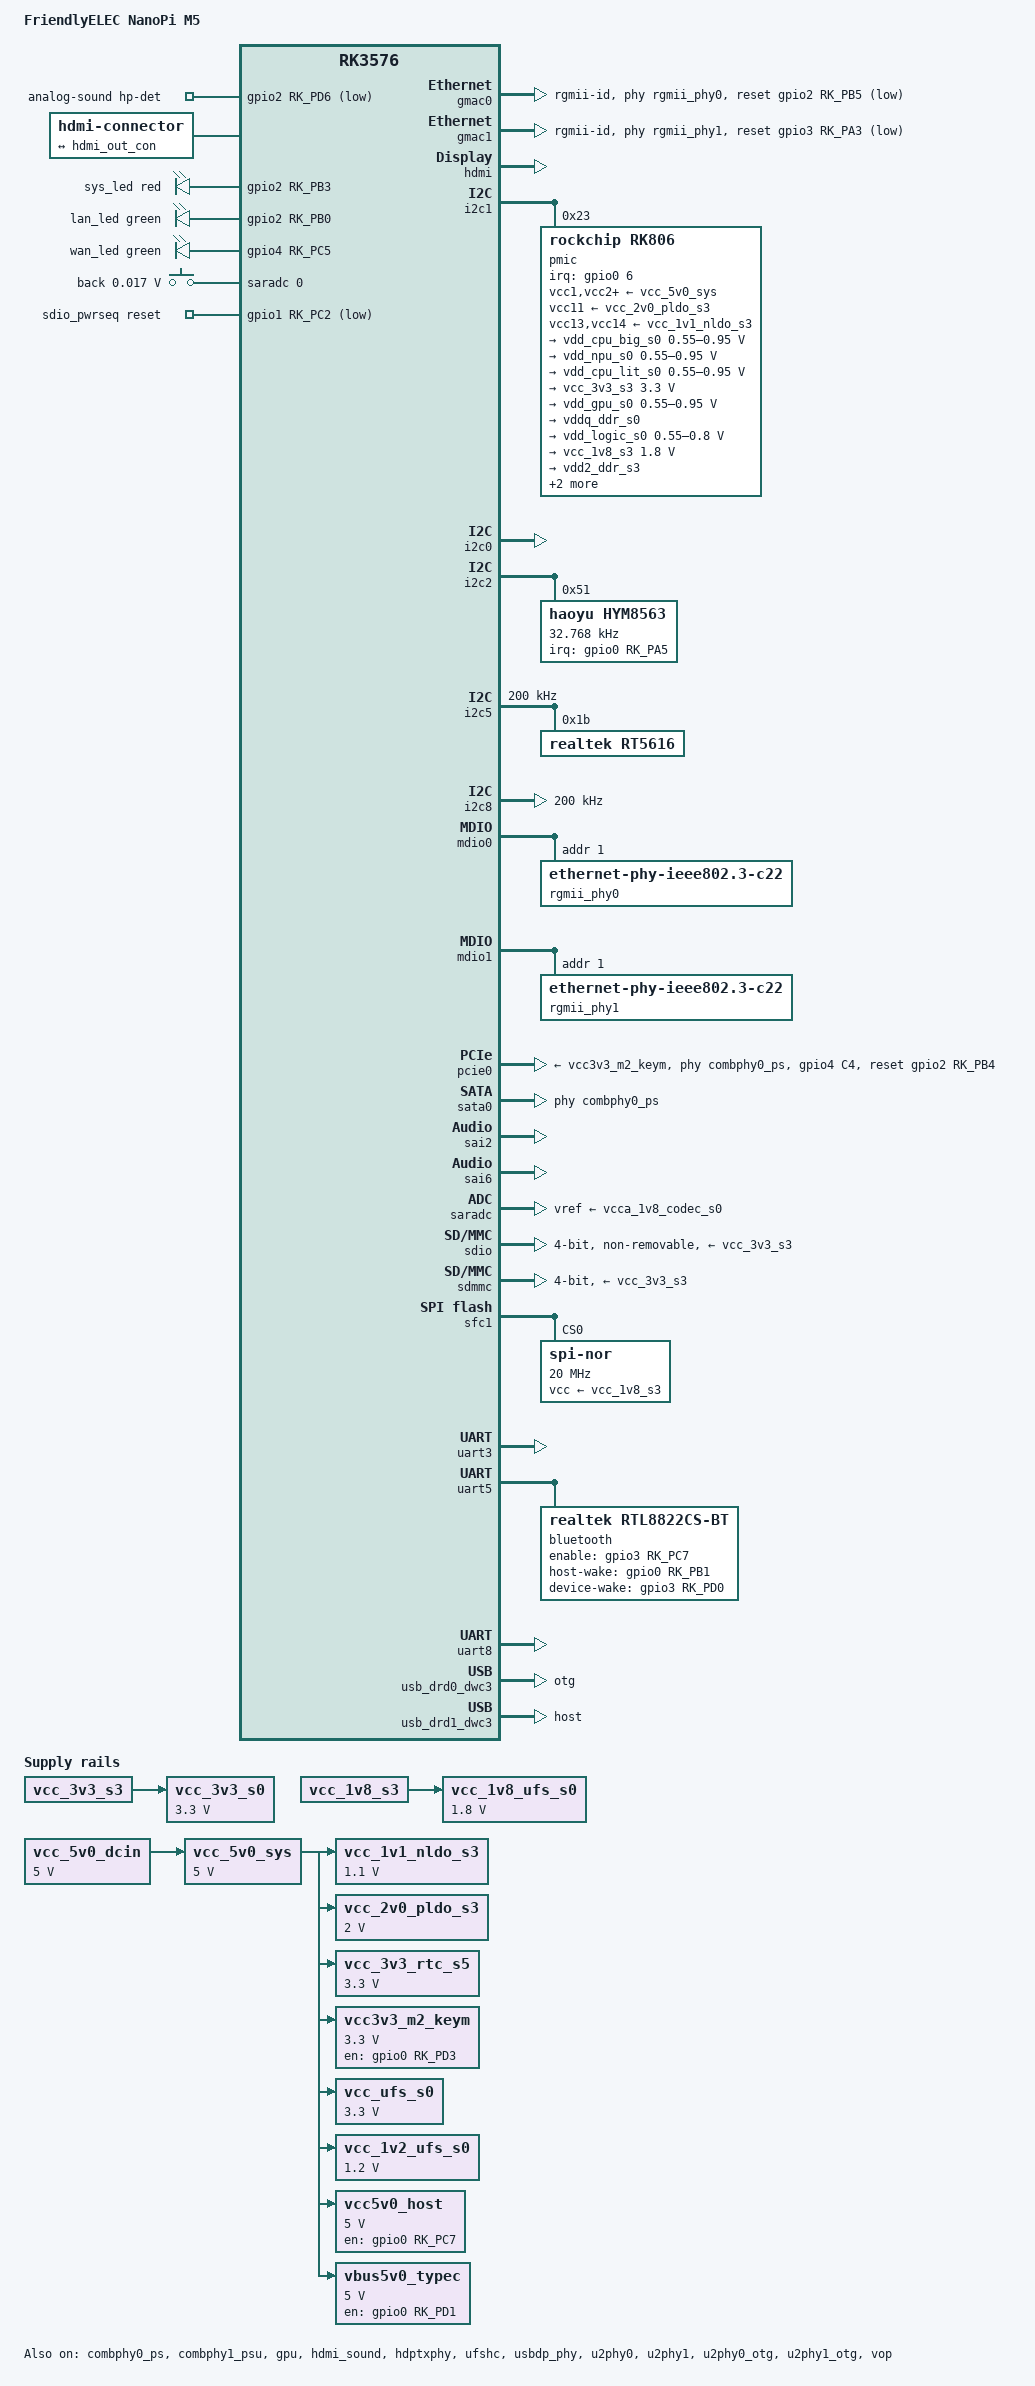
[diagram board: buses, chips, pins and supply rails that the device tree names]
// SPDX-License-Identifier: (GPL-2.0+ OR MIT)
/*
 * Copyright (c) 2024 Rockchip Electronics Co., Ltd.
 *
 */

/dts-v1/;

#include <dt-bindings/gpio/gpio.h>
#include <dt-bindings/input/input.h>
#include <dt-bindings/leds/common.h>
#include <dt-bindings/pinctrl/rockchip.h>
#include <dt-bindings/pwm/pwm.h>
#include <dt-bindings/soc/rockchip,vop2.h>
#include <dt-bindings/usb/pd.h>
#include "rk3576.dtsi"

/ {
	model = "FriendlyELEC NanoPi M5";
	compatible = "friendlyelec,nanopi-m5", "rockchip,rk3576";

	/* Network Aliases */
	aliases {
		ethernet0 = &gmac0;
		ethernet1 = &gmac1;
	};

	/* Boot Configuration */
	chosen {
		stdout-path = "serial0:1500000n8";
	};

	/* Audio Card */
	analog-sound  {
		compatible = "simple-audio-card";
		pinctrl-names = "default";
		pinctrl-0 = <&headphone_detect>;

		simple-audio-card,name = "realtek,rt5616-codec";
		simple-audio-card,format = "i2s";
		simple-audio-card,mclk-fs = <256>;

		simple-audio-card,hp-det-gpio = <&gpio2 RK_PD6 GPIO_ACTIVE_LOW>;

		simple-audio-card,widgets =
			"Headphone", "Headphones",
			"Microphone", "Microphone Jack";
		simple-audio-card,routing =
			"Headphones", "HPOL",
			"Headphones", "HPOR",
			"MIC1", "Microphone Jack",
			"Microphone Jack", "micbias1";

		simple-audio-card,cpu {
			sound-dai = <&sai2>;
		};
		simple-audio-card,codec {
			sound-dai = <&rt5616>;
		};
	};

	/* HDMI Connector */
	hdmi-con {
		compatible = "hdmi-connector";
		type = "a";

		port {
			hdmi_con_in: endpoint {
				remote-endpoint = <&hdmi_out_con>;
			};
		};
	};

        /* LED Configuration */
	leds: leds {
		compatible = "gpio-leds";

		sys_led: led-0 {
			color = <LED_COLOR_ID_RED>;
			function = LED_FUNCTION_HEARTBEAT;
			gpios = <&gpio2 RK_PB3 GPIO_ACTIVE_HIGH>;
			linux,default-trigger = "heartbeat";
			pinctrl-0 = <&sys_led_pin>;
		};

		lan_led: led-1 {
			color = <LED_COLOR_ID_GREEN>;
			function = LED_FUNCTION_STATUS;
			gpios = <&gpio2 RK_PB0 GPIO_ACTIVE_HIGH>;
			pinctrl-0 = <&lan_led_pin>;
		};

		wan_led: led-2 {
			color = <LED_COLOR_ID_GREEN>;
			function = LED_FUNCTION_STATUS;
			gpios = <&gpio4 RK_PC5 GPIO_ACTIVE_HIGH>;
			pinctrl-0 = <&wan_led_pin>;
		};
	};

	/* Button Configuration */
	saradc_keys: adc-keys {
		compatible = "adc-keys";
		io-channels = <&saradc 0>;
		io-channel-names = "buttons";
		keyup-threshold-microvolt = <1800000>;
		poll-interval = <100>;

		button-back {
			label = "back";
			linux,code = <KEY_BACK>;
			press-threshold-microvolt = <17000>;
		};
	};

	/* SDIO for WIFI CARD */
	sdio_pwrseq: sdio-pwrseq {
		compatible = "mmc-pwrseq-simple";
		pinctrl-names = "default";
		pinctrl-0 = <&wifi_poweren_gpio>;

		post-power-on-delay-ms = <200>;
		reset-gpios = <&gpio1 RK_PC2 GPIO_ACTIVE_LOW>;
	};

	/* Power Input */
	vcc_5v0_dcin: regulator-vcc-5v0-dcin {
		compatible = "regulator-fixed";
		regulator-name = "vcc_5v0_dcin";
		regulator-always-on;
		regulator-boot-on;
		regulator-min-microvolt = <5000000>;
		regulator-max-microvolt = <5000000>;
	};

	/* Main System Power */
	vcc_5v0_sys: regulator-vcc-5v0-sys {
		compatible = "regulator-fixed";
		regulator-name = "vcc_5v0_sys";
		regulator-always-on;
		regulator-boot-on;
		regulator-min-microvolt = <5000000>;
		regulator-max-microvolt = <5000000>;
		vin-supply = <&vcc_5v0_dcin>;
	};

	/* PMIC Input Rails */
	vcc_1v1_nldo_s3: regulator-vcc-1v1-nldo-s3 {
		compatible = "regulator-fixed";
		regulator-name = "vcc_1v1_nldo_s3";
		regulator-boot-on;
		regulator-always-on;
		regulator-min-microvolt = <1100000>;
		regulator-max-microvolt = <1100000>;
		vin-supply = <&vcc_5v0_sys>;
	};

	vcc_2v0_pldo_s3: regulator-vcc-2v0-pldo-s3 {
		compatible = "regulator-fixed";
		regulator-name = "vcc_2v0_pldo_s3";
		regulator-boot-on;
		regulator-always-on;
		regulator-min-microvolt = <2000000>;
		regulator-max-microvolt = <2000000>;
		vin-supply = <&vcc_5v0_sys>;
	};

	/* General Purpose 3.3V Rails */
	vcc_3v3_s0: regulator-vcc-3v3-s0 {
		compatible = "regulator-fixed";
		regulator-name = "vcc_3v3_s0";
		regulator-boot-on;
		regulator-always-on;
		regulator-min-microvolt = <3300000>;
		regulator-max-microvolt = <3300000>;
		vin-supply = <&vcc_3v3_s3>;
	};

	/* RTC Backup Power */
	vcc_3v3_rtc_s5: regulator-vcc-3v3-rtc-s5 {
		compatible = "regulator-fixed";
		regulator-name = "vcc_3v3_rtc_s5";
		regulator-boot-on;
		regulator-always-on;
		regulator-min-microvolt = <3300000>;
		regulator-max-microvolt = <3300000>;
		vin-supply = <&vcc_5v0_sys>;
	};

	/* PCIe M.2 Key M Power */
	vcc3v3_m2_keym: regulator-vcc3v3-m2-keym {
		compatible = "regulator-fixed";
		enable-active-high;
		gpios = <&gpio0 RK_PD3 GPIO_ACTIVE_HIGH>;
		pinctrl-names = "default";
		pinctrl-0 = <&pcie_m2_pwren>;
		regulator-name = "vcc3v3_m2_keym";
		regulator-min-microvolt = <3300000>;
		regulator-max-microvolt = <3300000>;
		vin-supply = <&vcc_5v0_sys>;
	};

	/* UFS Storage Power Rails */
	vcc_ufs_s0: regulator-vcc-ufs-s0 {
		compatible = "regulator-fixed";
		regulator-name = "vcc_ufs_s0";
		regulator-boot-on;
		regulator-always-on;
		regulator-min-microvolt = <3300000>;
		regulator-max-microvolt = <3300000>;
		vin-supply = <&vcc_5v0_sys>;
	};

	vcc_1v8_ufs_s0: regulator-vcc-1v8-ufs-s0 {
		compatible = "regulator-fixed";
		regulator-name = "vcc_1v8_ufs_s0";
		regulator-boot-on;
		regulator-always-on;
		regulator-min-microvolt = <1800000>;
		regulator-max-microvolt = <1800000>;
		vin-supply = <&vcc_1v8_s3>;
	};

	vcc_1v2_ufs_s0: regulator-vcc-1v2-ufs-s0 {
		compatible = "regulator-fixed";
		regulator-name = "vcc_1v2_ufs_s0";
		regulator-boot-on;
		regulator-always-on;
		regulator-min-microvolt = <1200000>;
		regulator-max-microvolt = <1200000>;
		vin-supply = <&vcc_5v0_sys>;
	};

	/* USB Host Power */
	vcc5v0_host: regulator-vcc5v0-host {
		compatible = "regulator-fixed";
		regulator-name = "vcc5v0_host";
		regulator-min-microvolt = <5000000>;
		regulator-max-microvolt = <5000000>;
		enable-active-high;
		gpio = <&gpio0 RK_PC7 GPIO_ACTIVE_HIGH>;
		vin-supply = <&vcc_5v0_sys>;
		pinctrl-names = "default";
		pinctrl-0 = <&usb_host_pwren>;
	};

	/* USB Type-C Power */
	vbus5v0_typec: regulator-vbus5v0-typec {
		compatible = "regulator-fixed";
		regulator-name = "vbus5v0_typec";
		regulator-min-microvolt = <5000000>;
		regulator-max-microvolt = <5000000>;
		enable-active-high;
		gpio = <&gpio0 RK_PD1 GPIO_ACTIVE_HIGH>;
		vin-supply = <&vcc_5v0_sys>;
		pinctrl-names = "default";
		pinctrl-0 = <&usb_otg0_pwren>;
	};
};

/* Combo PHY Configuration */
&combphy0_ps {
	status = "okay";
};

&combphy1_psu {
	status = "okay";
};

/* CPU Nodes */
&cpu_b0 {
	cpu-supply = <&vdd_cpu_big_s0>;
};

&cpu_b1 {
	cpu-supply = <&vdd_cpu_big_s0>;
};

&cpu_b2 {
	cpu-supply = <&vdd_cpu_big_s0>;
};

&cpu_b3 {
	cpu-supply = <&vdd_cpu_big_s0>;
};

&cpu_l0 {
	cpu-supply = <&vdd_cpu_lit_s0>;
};

&cpu_l1 {
	cpu-supply = <&vdd_cpu_lit_s0>;
};

&cpu_l2 {
	cpu-supply = <&vdd_cpu_lit_s0>;
};

&cpu_l3 {
	cpu-supply = <&vdd_cpu_lit_s0>;
};

/* Ethernet Nodes */
&gmac0 {
	phy-mode = "rgmii-id";
	clock_in_out = "output";

	snps,reset-gpio = <&gpio2 RK_PB5 GPIO_ACTIVE_LOW>;
	snps,reset-active-low;
	snps,reset-delays-us = <0 20000 100000>;

	pinctrl-names = "default";
	pinctrl-0 = <&eth0m0_miim
		     &eth0m0_tx_bus2
		     &eth0m0_rx_bus2
		     &eth0m0_rgmii_clk
		     &eth0m0_rgmii_bus>;

	tx_delay = <0x21>;
	rx_delay = <0x3f>;

	phy-handle = <&rgmii_phy0>;
	status = "okay";
};

&gmac1 {
	phy-mode = "rgmii-id";
	clock_in_out = "output";

	snps,reset-gpio = <&gpio3 RK_PA3 GPIO_ACTIVE_LOW>;
	snps,reset-active-low;
	snps,reset-delays-us = <0 20000 100000>;

	pinctrl-names = "default";
	pinctrl-0 = <&eth1m0_miim
		     &eth1m0_tx_bus2
		     &eth1m0_rx_bus2
		     &eth1m0_rgmii_clk
		     &eth1m0_rgmii_bus>;

	tx_delay = <0x20>;
	rx_delay = <0x3f>;

	phy-handle = <&rgmii_phy1>;
	status = "okay";
};

/* GPU Node */
&gpu {
	mali-supply = <&vdd_gpu_s0>;
	status = "okay";
};

/* GPIO Connector */
&gpio0 {
	gpio-line-names =
		/* GPIO0 A0-A7 */
		"", "", "", "",
		"", "", "", "",
		/* GPIO0 B0-B7 */
		"", "", "", "",
		"", "PIN_12", "", "",
		/* GPIO0 C0-C7 */
		"", "PIN_05 [I2C0_SCL_M1]", "PIN_03 [I2C0_SDA_M1]", "",
		"PIN_22", "", "", "",
		/* GPIO0 D0-D7 */
		"", "", "", "",
		"", "", "", "";
};

&gpio1 {
	gpio-line-names =
		/* GPIO1 A0-A7 */
		"", "", "", "",
		"", "", "", "",
		/* GPIO1 B0-B7 */
		"", "", "", "",
		"", "", "", "",
		/* GPIO1 C0-C7 */
		"", "", "", "",
		"", "", "", "",
		/* GPIO1 D0-D7 */
		"", "", "", "",
		"", "", "", "";
};

&gpio2 {
	gpio-line-names =
		/* GPIO2 A0-A7 */
		"", "", "", "",
		"", "", "PIN_11 [UART8_TX_M1]", "PIN_13 [UART8_RX_M1]",
		/* GPIO2 B0-B7 */
		"", "", "", "",
		"", "", "", "",
		/* GPIO2 C0-C7 */
		"", "", "", "",
		"", "", "", "",
		/* GPIO2 D0-D7 */
		"", "", "", "",
		"", "", "", "";
};

&gpio3 {
	gpio-line-names =
		/* GPIO3 A0-A7 */
		"PIN_16 [UART3_TX_M0]", "PIN_18 [UART3_RX_M0]", "", "",
		"", "", "", "",
		/* GPIO3 B0-B7 */
		"", "", "", "",
		"", "", "", "",
		/* GPIO3 C0-C7 */
		"", "", "", "",
		"", "", "", "",
		/* GPIO3 D0-D7 */
		"", "", "", "",
		"", "", "", "";
};

&gpio4 {
	gpio-line-names =
		/* GPIO4 A0-A7 */
		"", "",
		"PIN_15", "PIN_29",
		"PIN_28", "PIN_07",
		"PIN_26", "PIN_27",
		/* GPIO4 B0-B7 */
		"PIN_23", "PIN_19",
		"PIN_21", "PIN_24",
		"PIN_10", "PIN_08",
		"", "",
		/* GPIO4 C0-C7 */
		"", "", "", "",
		"", "", "", "",
		/* GPIO4 D0-D7 */
		"", "", "", "",
		"", "", "", "";
};

/* HDMI Nodes */
&hdmi {
	status = "okay";
};

&hdmi_in {
	hdmi_in_vp0: endpoint {
		remote-endpoint = <&vp0_out_hdmi>;
	};
};

&hdmi_out {
	hdmi_out_con: endpoint {
		remote-endpoint = <&hdmi_con_in>;
	};
};

&hdmi_sound {
	status = "okay";
};

&hdptxphy {
	status = "okay";
};

/* I2C Nodes */
&i2c1 {
	status = "okay";

	pmic@23 {
		compatible = "rockchip,rk806";
		reg = <0x23>;

		interrupt-parent = <&gpio0>;
		interrupts = <6 IRQ_TYPE_LEVEL_LOW>;

		pinctrl-names = "default";
		pinctrl-0 = <&pmic_pins>, <&rk806_dvs1_null>,
			    <&rk806_dvs2_null>, <&rk806_dvs3_null>;

		system-power-controller;

		vcc1-supply = <&vcc_5v0_sys>;
		vcc2-supply = <&vcc_5v0_sys>;
		vcc3-supply = <&vcc_5v0_sys>;
		vcc4-supply = <&vcc_5v0_sys>;
		vcc5-supply = <&vcc_5v0_sys>;
		vcc6-supply = <&vcc_5v0_sys>;
		vcc7-supply = <&vcc_5v0_sys>;
		vcc8-supply = <&vcc_5v0_sys>;
		vcc9-supply = <&vcc_5v0_sys>;
		vcc10-supply = <&vcc_5v0_sys>;
		vcc11-supply = <&vcc_2v0_pldo_s3>;
		vcc12-supply = <&vcc_5v0_sys>;
		vcc13-supply = <&vcc_1v1_nldo_s3>;
		vcc14-supply = <&vcc_1v1_nldo_s3>;
		vcca-supply = <&vcc_5v0_sys>;

		gpio-controller;
		#gpio-cells = <2>;

		rk806_dvs1_null: dvs1-null-pins {
			pins = "gpio_pwrctrl1";
			function = "pin_fun0";
		};

		rk806_dvs2_null: dvs2-null-pins {
			pins = "gpio_pwrctrl2";
			function = "pin_fun0";
		};

		rk806_dvs3_null: dvs3-null-pins {
			pins = "gpio_pwrctrl3";
			function = "pin_fun0";
		};

		rk806_dvs1_slp: dvs1-slp-pins {
			pins = "gpio_pwrctrl1";
			function = "pin_fun1";
		};

		rk806_dvs1_pwrdn: dvs1-pwrdn-pins {
			pins = "gpio_pwrctrl1";
			function = "pin_fun2";
		};

		rk806_dvs1_rst: dvs1-rst-pins {
			pins = "gpio_pwrctrl1";
			function = "pin_fun3";
		};

		rk806_dvs2_slp: dvs2-slp-pins {
			pins = "gpio_pwrctrl2";
			function = "pin_fun1";
		};

		rk806_dvs2_pwrdn: dvs2-pwrdn-pins {
			pins = "gpio_pwrctrl2";
			function = "pin_fun2";
		};

		rk806_dvs2_rst: dvs2-rst-pins {
			pins = "gpio_pwrctrl2";
			function = "pin_fun3";
		};

		rk806_dvs2_dvs: dvs2-dvs-pins {
			pins = "gpio_pwrctrl2";
			function = "pin_fun4";
		};

		rk806_dvs2_gpio: dvs2-gpio-pins {
			pins = "gpio_pwrctrl2";
			function = "pin_fun5";
		};

		rk806_dvs3_slp: dvs3-slp-pins {
			pins = "gpio_pwrctrl3";
			function = "pin_fun1";
		};

		rk806_dvs3_pwrdn: dvs3-pwrdn-pins {
			pins = "gpio_pwrctrl3";
			function = "pin_fun2";
		};

		rk806_dvs3_rst: dvs3-rst-pins {
			pins = "gpio_pwrctrl3";
			function = "pin_fun3";
		};

		rk806_dvs3_dvs: dvs3-dvs-pins {
			pins = "gpio_pwrctrl3";
			function = "pin_fun4";
		};

		rk806_dvs3_gpio: dvs3-gpio-pins {
			pins = "gpio_pwrctrl3";
			function = "pin_fun5";
		};

		regulators {
			vdd_cpu_big_s0: dcdc-reg1 {
				regulator-always-on;
				regulator-boot-on;
				regulator-min-microvolt = <550000>;
				regulator-max-microvolt = <950000>;
				regulator-ramp-delay = <12500>;
				regulator-name = "vdd_cpu_big_s0";
				regulator-enable-ramp-delay = <400>;
				regulator-state-mem {
					regulator-off-in-suspend;
				};
			};

			vdd_npu_s0: dcdc-reg2 {
				regulator-boot-on;
				regulator-min-microvolt = <550000>;
				regulator-max-microvolt = <950000>;
				regulator-ramp-delay = <12500>;
				regulator-name = "vdd_npu_s0";
				regulator-enable-ramp-delay = <400>;
				regulator-state-mem {
					regulator-off-in-suspend;
				};
			};

			vdd_cpu_lit_s0: dcdc-reg3 {
				regulator-always-on;
				regulator-boot-on;
				regulator-min-microvolt = <550000>;
				regulator-max-microvolt = <950000>;
				regulator-ramp-delay = <12500>;
				regulator-name = "vdd_cpu_lit_s0";
				regulator-state-mem {
					regulator-off-in-suspend;
				};
			};

			vcc_3v3_s3: dcdc-reg4 {
				regulator-always-on;
				regulator-boot-on;
				regulator-min-microvolt = <3300000>;
				regulator-max-microvolt = <3300000>;
				regulator-name = "vcc_3v3_s3";
				regulator-state-mem {
					regulator-on-in-suspend;
					regulator-suspend-microvolt = <3300000>;
				};
			};

			vdd_gpu_s0: dcdc-reg5 {
				regulator-boot-on;
				regulator-min-microvolt = <550000>;
				regulator-max-microvolt = <950000>;
				regulator-ramp-delay = <12500>;
				regulator-name = "vdd_gpu_s0";
				regulator-enable-ramp-delay = <400>;
				regulator-state-mem {
					regulator-off-in-suspend;
				};
			};

			vddq_ddr_s0: dcdc-reg6 {
				regulator-always-on;
				regulator-boot-on;
				regulator-name = "vddq_ddr_s0";
				regulator-state-mem {
					regulator-off-in-suspend;
				};
			};

			vdd_logic_s0: dcdc-reg7 {
				regulator-always-on;
				regulator-boot-on;
				regulator-min-microvolt = <550000>;
				regulator-max-microvolt = <800000>;
				regulator-name = "vdd_logic_s0";
				regulator-state-mem {
					regulator-off-in-suspend;
				};
			};

			vcc_1v8_s3: dcdc-reg8 {
				regulator-always-on;
				regulator-boot-on;
				regulator-min-microvolt = <1800000>;
				regulator-max-microvolt = <1800000>;
				regulator-name = "vcc_1v8_s3";
				regulator-state-mem {
					regulator-on-in-suspend;
					regulator-suspend-microvolt = <1800000>;
				};
			};

			vdd2_ddr_s3: dcdc-reg9 {
				regulator-always-on;
				regulator-boot-on;
				regulator-name = "vdd2_ddr_s3";
				regulator-state-mem {
					regulator-on-in-suspend;
				};
			};

			vdd_ddr_s0: dcdc-reg10 {
				regulator-always-on;
				regulator-boot-on;
				regulator-min-microvolt = <550000>;
				regulator-max-microvolt = <1200000>;
				regulator-name = "vdd_ddr_s0";
				regulator-state-mem {
					regulator-off-in-suspend;
				};
			};

			vcca_1v8_s0: pldo-reg1 {
				regulator-always-on;
				regulator-boot-on;
				regulator-min-microvolt = <1800000>;
				regulator-max-microvolt = <1800000>;
				regulator-name = "vcca_1v8_s0";
				regulator-state-mem {
					regulator-off-in-suspend;
				};
			};

			vcca_1v8_codec_s0: pldo-reg2 {
				regulator-always-on;
				regulator-boot-on;
				regulator-min-microvolt = <1800000>;
				regulator-max-microvolt = <1800000>;
				regulator-name = "vcca_1v8_codec_s0";
				regulator-state-mem {
					regulator-off-in-suspend;
				};
			};

			vdda_1v2_s0: pldo-reg3 {
				regulator-always-on;
				regulator-boot-on;
				regulator-min-microvolt = <1200000>;
				regulator-max-microvolt = <1200000>;
				regulator-name = "vdda_1v2_s0";
				regulator-state-mem {
					regulator-off-in-suspend;
				};
			};

			vcca_3v3_s0: pldo-reg4 {
				regulator-always-on;
				regulator-boot-on;
				regulator-min-microvolt = <3300000>;
				regulator-max-microvolt = <3300000>;
				regulator-name = "vcca_3v3_s0";
				regulator-state-mem {
					regulator-off-in-suspend;
				};
			};

			vccio_sd_s0: pldo-reg5 {
				regulator-always-on;
				regulator-boot-on;
				regulator-min-microvolt = <1800000>;
				regulator-max-microvolt = <3300000>;
				regulator-name = "vccio_sd_s0";
				regulator-state-mem {
					regulator-off-in-suspend;
				};
			};

			vcca_1v8_s3: pldo-reg6 {
				regulator-always-on;
				regulator-boot-on;
				regulator-min-microvolt = <1800000>;
				regulator-max-microvolt = <1800000>;
				regulator-name = "vcca_1v8_s3";
				regulator-state-mem {
					regulator-on-in-suspend;
					regulator-suspend-microvolt = <1800000>;
				};
			};

			vdd_0v75_s3: nldo-reg1 {
				regulator-always-on;
				regulator-boot-on;
				regulator-min-microvolt = <750000>;
				regulator-max-microvolt = <750000>;
				regulator-name = "vdd_0v75_s3";
				regulator-state-mem {
					regulator-on-in-suspend;
					regulator-suspend-microvolt = <750000>;
				};
			};

			vdda_ddr_pll_s0: nldo-reg2 {
				regulator-always-on;
				regulator-boot-on;
				regulator-min-microvolt = <850000>;
				regulator-max-microvolt = <850000>;
				regulator-name = "vdda_ddr_pll_s0";
				regulator-state-mem {
					regulator-off-in-suspend;
				};
			};

			vdda_0v75_hdmi_s0: nldo-reg3 {
				regulator-always-on;
				regulator-boot-on;
				regulator-min-microvolt = <750000>;
				regulator-max-microvolt = <750000>;
				regulator-name = "vdda_0v75_hdmi_s0";
				regulator-state-mem {
					regulator-off-in-suspend;
				};
			};

			vdda_0v85_s0: nldo-reg4 {
				regulator-always-on;
				regulator-boot-on;
				regulator-min-microvolt = <850000>;
				regulator-max-microvolt = <850000>;
				regulator-name = "vdda_0v85_s0";
				regulator-state-mem {
					regulator-off-in-suspend;
				};
			};

			vdda_0v75_s0: nldo-reg5 {
				regulator-always-on;
				regulator-boot-on;
				regulator-min-microvolt = <750000>;
				regulator-max-microvolt = <750000>;
				regulator-name = "vdda_0v75_s0";
				regulator-state-mem {
					regulator-off-in-suspend;
				};
			};
		};
	};
};

&i2c0 {
	pinctrl-0 = <&i2c0m1_xfer>;
	status = "okay";
};

&i2c2 {
	status = "okay";

	hym8563: rtc@51 {
		compatible = "haoyu,hym8563";
		reg = <0x51>;
		#clock-cells = <0>;
		clock-frequency = <32768>;
		clock-output-names = "hym8563";
		pinctrl-names = "default";
		pinctrl-0 = <&hym8563_int>;
		interrupt-parent = <&gpio0>;
		interrupts = <RK_PA5 IRQ_TYPE_LEVEL_LOW>;
		wakeup-source;
	};
};

&i2c5 {
	status = "okay";
	clock-frequency = <200000>;
	pinctrl-0 = <&i2c5m3_xfer>;

	rt5616: audio-codec@1b  {
		status = "okay";
		#sound-dai-cells = <0>;
		compatible = "realtek,rt5616";
		reg = <0x1b>;
		clocks = <&cru CLK_SAI2_MCLKOUT_TO_IO>;
		clock-names = "mclk";
		assigned-clocks = <&cru CLK_SAI2_MCLKOUT_TO_IO>;
		assigned-clock-rates = <12288000>;
		pinctrl-names = "default";
		pinctrl-0 = <&sai2m0_mclk>;
	};
};

&i2c8 {
	clock-frequency = <200000>;
	pinctrl-0 = <&i2c8m2_xfer>;
};

/* Ethernet PHY Configuration */
&mdio0 {
	rgmii_phy0: phy@1 {
		compatible = "ethernet-phy-ieee802.3-c22";
		reg = <0x1>;
		clocks = <&cru REFCLKO25M_GMAC0_OUT>;
	};
};

&mdio1 {
	rgmii_phy1: phy@1 {
		compatible = "ethernet-phy-ieee802.3-c22";
		reg = <0x1>;
		clocks = <&cru REFCLKO25M_GMAC1_OUT>;
	};
};

/* PCIE Node */
&pcie0 {
	status = "okay";
	pinctrl-0 = <&pcie_m2_prsnt>;
	phys = <&combphy0_ps PHY_TYPE_PCIE>;
	reset-gpios = <&gpio2 RK_PB4 GPIO_ACTIVE_HIGH>;
	vpcie3v3-supply = <&vcc3v3_m2_keym>;
};

/* PINs Configuration */
&pinctrl {

	hym8563 {
		hym8563_int: hym8563-int {
			rockchip,pins = <0 RK_PA5 RK_FUNC_GPIO &pcfg_pull_up>;
		};
	};

	gmac {
		gmac0_int: gmac0-int {
			rockchip,pins = <2 RK_PB1 RK_FUNC_GPIO &pcfg_pull_up>;
		};
		gmac1_int: gmac1-int {
			rockchip,pins = <3 RK_PA2 RK_FUNC_GPIO &pcfg_pull_up>;
		};
	};


	gpio-leds {
		sys_led_pin: sys-led-pin {
			rockchip,pins = <2 RK_PB3 RK_FUNC_GPIO &pcfg_pull_none>;
		};

		lan_led_pin: lan-led-pin {
			rockchip,pins = <2 RK_PB0 RK_FUNC_GPIO &pcfg_pull_none>;
		};

		wan_led_pin: wan-led-pin {
			rockchip,pins = <4 RK_PC5 RK_FUNC_GPIO &pcfg_pull_none>;
		};
	};

	pcie {
		pcie_m2_pwren: pcie-m2-pwren {
			rockchip,pins = <0 RK_PD3 RK_FUNC_GPIO &pcfg_pull_none>;
		};

		pcie_m2_prsnt: pcie-m20-prsnt {
			rockchip,pins = <4 RK_PC4 RK_FUNC_GPIO &pcfg_pull_up>;
		};
	};

	usb {
		usb_otg0_pwren: usb-otg0-pwren {
			rockchip,pins = <0 RK_PD1 RK_FUNC_GPIO &pcfg_pull_none>;
		};

		usb_host_pwren: usb-host-pwren {
			rockchip,pins = <0 RK_PC7 RK_FUNC_GPIO &pcfg_pull_none>;
		};

	};

	wireless-bluetooth {
		uart5_gpios: uart5-gpios {
			rockchip,pins = <3 RK_PD6 RK_FUNC_GPIO &pcfg_pull_none>;
		};
	};

	wireless-wlan {
		wifi_host_wake_irq: wifi-host-wake-irq {
			rockchip,pins = <0 RK_PB0 RK_FUNC_GPIO &pcfg_pull_down>;
		};

		wifi_poweren_gpio: wifi-poweren-gpio {
			rockchip,pins = <1 RK_PC2 RK_FUNC_GPIO &pcfg_pull_up>;
		};
	};

	audio {
		headphone_detect: headphone-detect {
			rockchip,pins = <2 RK_PD6 RK_FUNC_GPIO &pcfg_pull_none>;
		};
	};
};

/* SATA Configuration */
&sata0 {
	phys = <&combphy0_ps PHY_TYPE_SATA>;
	target-supply = <&vcc3v3_m2_keym>;
	status = "okay";
};

/* Audio Interface Configuration */
&sai2 {
	status = "okay";
};

&sai6 {
	status = "okay";
};

/* ADC Configuration */
&saradc {
	status = "okay";
	vref-supply = <&vcca_1v8_codec_s0>;
};

/* SD/MMC Configuration */
&sdio {
	max-frequency = <200000000>;
	bus-width = <4>;
	cap-sdio-irq;
	disable-wp;
	keep-power-in-suspend;
	mmc-pwrseq = <&sdio_pwrseq>;
	no-sd;
	no-mmc;
	non-removable;
	sd-uhs-sdr50;
	sd-uhs-sdr104;
	vmmc-supply = <&vcc_3v3_s3>;
	vqmmc-supply = <&vcc_1v8_s3>;
	pinctrl-0 = <&sdmmc1m0_bus4 &sdmmc1m0_clk &sdmmc1m0_cmd>;
	wakeup-source;
	status = "okay";
};

&sdmmc {
	max-frequency = <200000000>;
	no-sdio;
	no-mmc;
	bus-width = <4>;
	cap-mmc-highspeed;
	cap-sd-highspeed;
	disable-wp;
	sd-uhs-sdr104;
	vmmc-supply = <&vcc_3v3_s3>;
	vqmmc-supply = <&vccio_sd_s0>;
	pinctrl-names = "default";
	status = "okay";
};

/* SPI Flash Configuration */
&fspi1m1_pins {
	rockchip,pins =
		/* clk, d0~4 */
		<1 RK_PD5 3 &pcfg_pull_none>,
		<1 RK_PC4 3 &pcfg_pull_none>,
		<1 RK_PC5 3 &pcfg_pull_none>,
		<1 RK_PC6 3 &pcfg_pull_none>,
		<1 RK_PC7 3 &pcfg_pull_none>;
};

&sfc1 {
	status = "okay";
	pinctrl-names = "default";
	pinctrl-0 = <&fspi1m1_csn0 &fspi1m1_pins>;
	#address-cells = <1>;
	#size-cells = <0>;

	spi-nor@0 {
		compatible = "jedec,spi-nor";
		reg = <0>;
		m25p,fast-read;
		spi-max-frequency = <20000000>;
		spi-rx-bus-width = <4>;
		spi-tx-bus-width = <1>;
		vcc-supply = <&vcc_1v8_s3>;
	};
};

/* UFS Storage */

&ufshc {
	status = "okay";
};

/* UART Configuration */

&uart3 {
	pinctrl-0 = <&uart3m0_xfer>;
	status = "okay";
};

&uart5 {
	pinctrl-names = "default";
	pinctrl-0 = <&uart5m0_xfer &uart5m0_ctsn &uart5m0_rtsn>;
	status = "okay";

	bluetooth {
		compatible = "realtek,rtl8822cs-bt";
		enable-gpios = <&gpio3 RK_PC7 GPIO_ACTIVE_HIGH>;
		host-wake-gpios = <&gpio0 RK_PB1 GPIO_ACTIVE_HIGH>;
		device-wake-gpios = <&gpio3 RK_PD0 GPIO_ACTIVE_HIGH>;
	};
};

&uart8 {
	pinctrl-0 = <&uart8m1_xfer>;
	status = "okay";
};

/* USB Configuration */
&usb_drd0_dwc3 {
	dr_mode = "otg";
	extcon = <&u2phy0>;
	status = "okay";
};

&usb_drd1_dwc3 {
	dr_mode = "host";
	status = "okay";
};

&usbdp_phy {
	status = "okay";
};

&u2phy0 {
	status = "okay";
};

&u2phy1 {
	status = "okay";
};

&u2phy0_otg {
	status = "okay";
	phy-supply = <&vbus5v0_typec>;
};

&u2phy1_otg {
	status = "okay";
	phy-supply = <&vcc5v0_host>;
};

/* Video Output Configuration */
&vop {
	status = "okay";
};

&vop_mmu {
	status = "okay";
};

&vp0 {
	vp0_out_hdmi: endpoint@ROCKCHIP_VOP2_EP_HDMI0 {
		reg = <ROCKCHIP_VOP2_EP_HDMI0>;
		remote-endpoint = <&hdmi_in_vp0>;
	};
};
